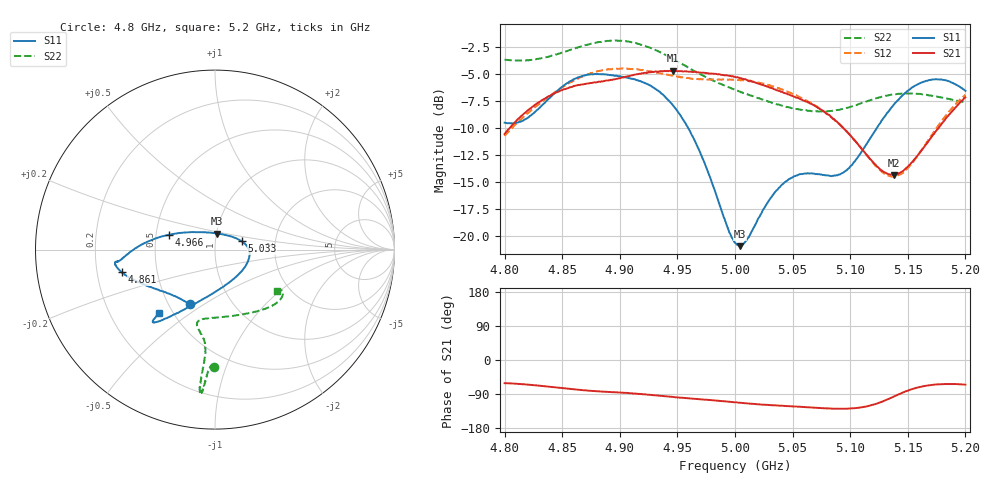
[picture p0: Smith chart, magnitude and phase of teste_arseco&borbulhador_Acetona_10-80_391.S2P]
! Network Analyzer HP8722D
! Hewlett-Packard
! Data name: Linha & Wilkinson
! Saver's name: Rodrigo Anjos
! Comments: Teste da utilização de aquisição
! continua pelo VNA HP8722D
! Time and date: 17/4/2025 17:37
!  Frequency  S11  S21  S12  S22
# HZ  S  MA R 50
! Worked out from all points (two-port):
!   401 points, 4.8 GHz to 5.2 GHz, reference 50 ohm
!   highest |S21| = -4.70 dB at 4.946 GHz (marker M1); lowest = -14.3 dB at 5.138 GHz (marker M2)
!   |S21| within 3 dB of the highest: 4.828 GHz to 5.065 GHz (236.5 MHz wide, 4.78 % of centre); 5.194717 GHz to end of sweep
!   lowest |S11| = -20.9 dB at 5.004 GHz (marker M3), VSWR 1.20, Z = 50.4 + j9.07 ohm
!   |S11| at or under -10 dB: 4.959 GHz to 5.123 GHz (163.5 MHz wide, 3.24 % of centre)
!   |S22| runs from -8.5 to -1.9 dB; largest |S21 - S12| = 0.88
!   S11 on the Smith chart (normalised r, x): 4.8 GHz: 0.64, -0.44; 4.861 GHz: 0.31, -0.11; 4.966 GHz: 0.58, +0.10; 5.033 GHz: 1.34, +0.13; 5.2 GHz: 0.42, -0.38
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4.8e9  0.3354 -114.5  0.2971 -61.2  0.2911 -175.4  0.6564 -90.4
4.819e9  0.3505 -134.5  0.3772 -64.7  0.3662 -174.3  0.6519 -92.0
4.861e9  0.5351 -166.4  0.4961 -77.7  0.5283 -177.6  0.7392 -94.3
4.867e9  0.5501 -168.7  0.5038 -79.4  0.5457 -178.7  0.7567 -94.5
4.901e9  0.5483 -173.0  0.54 -86.1  0.5957 174.5  0.8022 -95.9
4.934e9  0.4683 -178.8  0.5779 -94.2  0.5722 171.3  0.7137 -96.2
4.946e9  0.4044 175.6  0.5823 -97.6  0.5535 171.4  0.6614 -95.8
4.966e9  0.2699 162.2  0.5749 -102.6  0.5337 173.3  0.5775 -95.3
5e9  0.0933 97.2  0.5459 -111.8  0.5293 175.6  0.4761 -99.4
5.004e9  0.09004 82.2  0.5393 -112.8  0.5288 175.7  0.4677 -100.2
5.011e9  0.09779 57.7  0.5271 -114.7  0.5225 175.4  0.453 -101.8
5.033e9  0.1557 17.5  0.4817 -119.6  0.4926 174.3  0.4124 -103.4
5.049e9  0.1864 1.5  0.4472 -122.1  0.4574 173.8  0.3911 -99.6
5.067e9  0.1954 -17.6  0.4076 -125.3  0.4104 173.3  0.379 -90.0
5.085e9  0.1906 -46.2  0.3497 -128.5  0.3502 173.3  0.3812 -76.4
5.097e9  0.2021 -70.2  0.3047 -128.5  0.3058 174.8  0.3925 -66.6
5.123e9  0.317 -109.4  0.211 -115.2  0.2095 -169.7  0.4357 -48.5
5.134e9  0.3828 -118.1  0.1935 -101.8  0.19 -154.8  0.4499 -43.1
5.138e9  0.4076 -120.3  0.1924 -96.3  0.1891 -148.6  0.4527 -41.3
5.151e9  0.4751 -125.9  0.2125 -79.7  0.2098 -129.2  0.4581 -36.6
5.17e9  0.5292 -129.9  0.2847 -66.0  0.2901 -112.4  0.4476 -32.3
5.2e9  0.4706 -131.3  0.4392 -65.1  0.4514 -107.1  0.4159 -33.8
